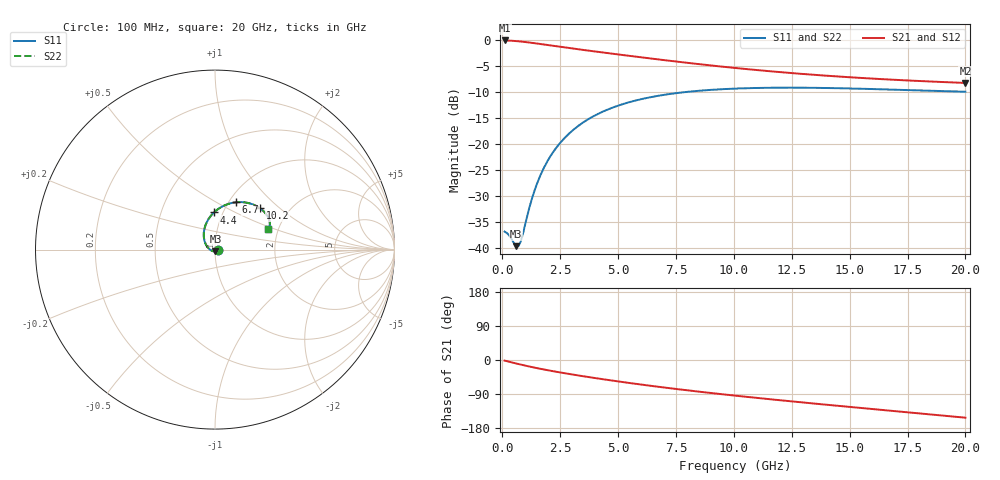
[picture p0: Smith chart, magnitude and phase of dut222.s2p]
! Touchstone file exported from HFSS 2024.1.0
!  File:  C:/UserFiles/LocalFiles/RDL_TSV_Batchsim/temp_RDL_TSV_222_1779448917.aedt
!  Generated:  07:37:17 PM May 22, 2026
!  Design:  RDL_TSV
!  Project:  temp_RDL_TSV_222_1779448917
!  Setup:  Setup1
!  Solution:  Sweep
! Variables:
!  dtsv = 12.26um
!  hbump = 3um
!  htsv = 80.16um
!  ldown = 331um
!  lrdl = 217.12um
!  p = 40
!  p1 = 58.78um
!  rhole = 10um
!  subl = 1861.48um
!  t = 450um
!  tdown = 2.23um
!  trdl = 4.87um
!  viad = 10um
!  wdown = 13.73um
!  wrdl = 23.37um
!  xbump = 18um
# GHz S MA R 50.000000
! Terminal data exported
! Port[1] = TM1_1_T1
! Port[2] = TM1_4_T1
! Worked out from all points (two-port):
!   200 points, 100 MHz to 20 GHz, reference 50 ohm
!   highest |S21| = -0.13 dB at 100 MHz (marker M1); lowest = -8.3 dB at 20 GHz (marker M2)
!   |S21| within 3 dB of the highest: start of sweep to 5.566 GHz
!   lowest |S11| = -39.6 dB at 600 MHz (marker M3), VSWR 1.02, Z = 50.3 - j1.01 ohm
!   |S11| at or under -10 dB: start of sweep to 7.997 GHz
!   |S22| runs from -39.6 to -9.2 dB; largest |S21 - S12| = 9.1e-15
!   S11 on the Smith chart (normalised r, x): 100 MHz: 1.03, -0.00; 4.4 GHz: 0.91, +0.39; 6.7 GHz: 1.08, +0.62; 10.2 GHz: 1.44, +0.75; 20 GHz: 1.76, +0.46
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0.1  0.01438 -8.1  0.985 -1.6  0.985 -1.6  0.01438 -8.1
! Gamma 0 0 0 0
! Port Impedance 50 0 50 0
0.3  0.01322 -27.3  0.9814 -4.7  0.9814 -4.7  0.01322 -27.3
0.6  0.01042 -75.0  0.9712 -9.2  0.9712 -9.2  0.01042 -75.0
0.7  0.01044 -97.9  0.9668 -10.7  0.9668 -10.7  0.01043 -98.0
0.8  0.01161 -121.0  0.962 -12.1  0.962 -12.1  0.01161 -121.0
1.2  0.02587 -176.7  0.9393 -17.6  0.9393 -17.6  0.02587 -176.7
1.4  0.03607 169.3  0.9266 -20.2  0.9266 -20.2  0.03606 169.3
1.6  0.04726 158.7  0.9136 -22.7  0.9136 -22.7  0.04725 158.7
1.9  0.06515 146.3  0.894 -26.3  0.894 -26.3  0.06514 146.3
2.2  0.08367 136.3  0.8747 -29.6  0.8747 -29.6  0.08365 136.3
2.6  0.1084 125.3  0.8499 -33.9  0.8499 -33.9  0.1084 125.3
3.5  0.1612 106.1  0.7985 -42.9  0.7985 -42.9  0.1611 106.1
4.4  0.207 91.7  0.7521 -51.2  0.7521 -51.2  0.2069 91.6
5.5  0.2522 77.8  0.7003 -60.7  0.7003 -60.7  0.2521 77.8
6.7  0.2889 65.9  0.6492 -70.4  0.6492 -70.4  0.2888 65.9
6.8  0.2914 65.0  0.6452 -71.2  0.6452 -71.2  0.2913 65.0
8.4  0.3225 52.9  0.5865 -82.9  0.5865 -82.9  0.3224 52.9
10.1  0.34 43.1  0.5349 -94.3  0.5349 -94.3  0.3399 43.1
10.2  0.3407 42.6  0.5322 -95.0  0.5322 -95.0  0.3405 42.6
13.4  0.3458 30.4  0.4619 -114.6  0.4619 -114.6  0.3456 30.4
16.7  0.3329 23.6  0.4152 -133.5  0.4152 -133.5  0.3327 23.6
20  0.3169 21.7  0.385 -152.2  0.385 -152.2  0.3167 21.6
